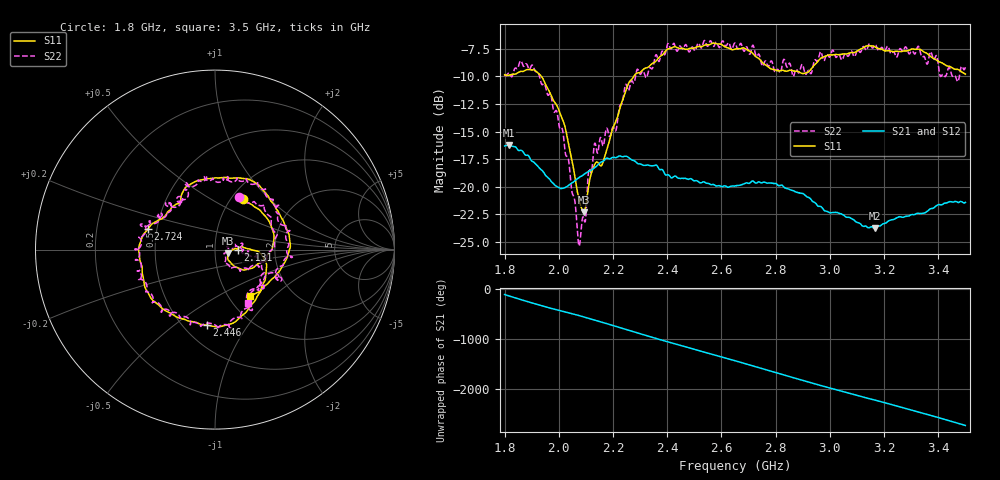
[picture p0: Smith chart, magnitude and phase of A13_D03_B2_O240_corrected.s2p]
! Created with skrf 1.9.0 (http://scikit-rf.org).
# Hz S RI R 50.0
!freq ReS11 ImS11 ReS21 ImS21 ReS12 ImS12 ReS22 ImS22
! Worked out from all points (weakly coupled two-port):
!   1601 points, 1.8 GHz to 3.5 GHz, reference 50 ohm
!   highest |S21| = -16.20 dB at 1.817 GHz (marker M1); lowest = -23.8 dB at 3.165 GHz (marker M2)
!   lowest |S11| = -22.3 dB at 2.092 GHz (marker M3), VSWR 1.17, Z = 57.9 - j2.46 ohm
!   |S11| at or under -10 dB: 1.936 GHz to 2.277 GHz (340.7 MHz wide, 16.2 % of centre)
!   |S22| runs from -25.4 to -6.7 dB; largest |S21 - S12| = 0.0026
!   S11 on the Smith chart (normalised r, x): 1.8 GHz: 1.13, +0.71; 2.131 GHz: 1.29, +0.00; 2.446 GHz: 0.65, -0.66; 2.724 GHz: 0.45, +0.12; 3.5 GHz: 1.26, -0.72
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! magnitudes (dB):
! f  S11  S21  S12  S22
! 1.8 GHz  -9.8  -16.3  -16.3  -9.9
! 1.817 GHz  -9.9  -16.2  -16.2  -9.7
! 1.903 GHz  -9.4  -17.7  -17.7  -9.0
! 1.968 GHz  -11.5  -19.4  -19.4  -11.6
! 2.015 GHz  -14.0  -20.1  -20.2  -15.0
! 2.072 GHz  -20.8  -19.2  -19.2  -25.0
! 2.084 GHz  -21.9  -19.0  -19.0  -23.4
! 2.092 GHz  -22.3  -18.9  -18.9  -22.8
! 2.131 GHz  -18.0  -18.3  -18.3  -16.1
! 2.162 GHz  -17.8  -17.7  -17.6  -16.3
! 2.209 GHz  -14.1  -17.4  -17.3  -14.9
! 2.26 GHz  -10.5  -17.4  -17.4  -11.1
! 2.367 GHz  -8.3  -18.3  -18.2  -8.6
! 2.446 GHz  -7.5  -19.2  -19.2  -7.2
! 2.65 GHz  -7.5  -19.9  -19.9  -7.0
! 2.724 GHz  -8.1  -19.6  -19.6  -7.9
! 2.934 GHz  -9.2  -21.3  -21.2  -9.6
! 3.165 GHz  -7.3  -23.8  -23.7  -7.2
! 3.217 GHz  -7.7  -23.1  -23.1  -7.4
! 3.327 GHz  -7.5  -22.4  -22.4  -7.3
! 3.468 GHz  -9.4  -21.3  -21.3  -10.3
! 3.5 GHz  -9.8  -21.4  -21.4  -9.2
